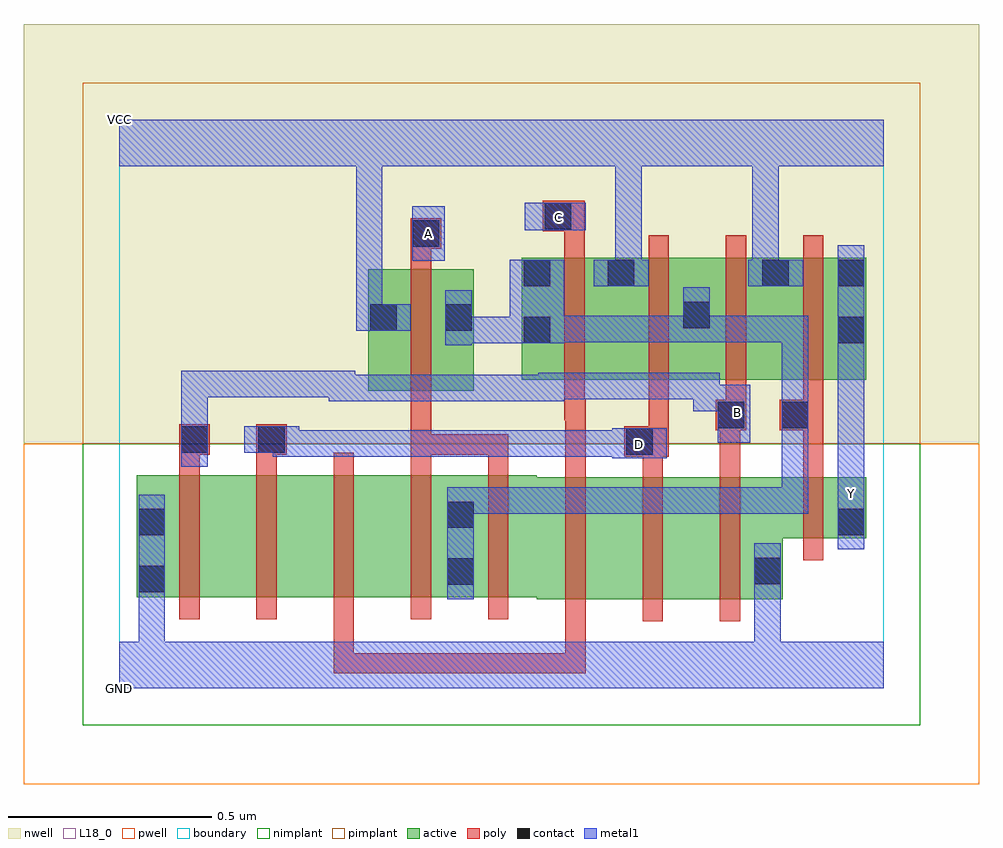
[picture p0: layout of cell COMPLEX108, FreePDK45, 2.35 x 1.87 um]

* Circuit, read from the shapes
.subckt COMPLEX108 A B C D GND VCC Y
M1 n1 B GND VSUBS nfet w=0.3u l=0.05u
M2 n2 D n1 VSUBS nfet w=0.3u l=0.05u
M3 n3 C n2 VSUBS nfet w=0.3u l=0.05u
M4 n4 A n3 VSUBS nfet w=0.3u l=0.05u
M5 n5 A n4 VSUBS nfet w=0.3u l=0.05u
M6 n6 C n5 VSUBS nfet w=0.3u l=0.05u
M7 n7 D n6 VSUBS nfet w=0.3u l=0.05u
M8 GND B n7 VSUBS nfet w=0.3u l=0.05u
M9 Y n4 GND VSUBS nfet w=0.15u l=0.05u
M10 n4 A VCC n8 pfet w=0.3u l=0.05u
M11 VCC C n4 n8 pfet w=0.3u l=0.05u
M12 n4 D VCC n8 pfet w=0.3u l=0.05u
M13 VCC B n4 n8 pfet w=0.3u l=0.05u
M14 Y n4 VCC n8 pfet w=0.3u l=0.05u
.ends

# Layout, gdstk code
import gdstk
lib = gdstk.Library(unit=1e-6, precision=1e-09)
def R(c, l, rs):  # rectangles x0, y0, x1, y1
    for r in rs: c.add(gdstk.rectangle(r[:2], r[2:], *l))
def A(c, l, x, y, w, h, nx, ny, dx, dy):  # array of equal rectangles
    R(c, l, [(x+i*dx, y+j*dy, x+i*dx+w, y+j*dy+h) for i in range(nx) for j in range(ny)])
active = (1, 0)
pwell = (2, 0)
nwell = (3, 0)
nimplant = (4, 0)
pimplant = (5, 0)
poly = (9, 0)
contact = (10, 0)
metal1 = (11, 0)
L18_0 = (18, 0)
boundary = (235, 0)

complex108 = lib.new_cell('COMPLEX108')
R(complex108, active, [(1.027,0.22,1.217,0.52), (1.217,0.22,1.407,0.52), (1.407,0.22,1.632,0.52), (1.557,0.22,1.632,0.37), (0.042,0.225,0.267,0.525), (0.042,0.225,0.117,0.525), (0.267,0.225,0.457,0.525), (0.457,0.225,0.647,0.525), (0.647,0.225,0.877,0.525), (0.802,0.225,1.027,0.525), (0.802,0.225,0.877,0.525), (1.557,0.37,1.837,0.52), (1.762,0.37,1.837,0.52), (0.612,0.732,0.687,1.032), (0.612,0.732,0.872,1.032), (0.797,0.732,0.872,0.967), (0.99,0.76,1.065,1.06), (0.99,0.76,1.272,1.06), (1.197,0.76,1.457,1.06), (1.382,0.76,1.652,1.06), (1.382,0.76,1.457,0.957), (1.577,0.76,1.837,1.06), (1.762,0.76,1.837,1.06), (1.577,0.772,1.652,1.06), (1.197,0.832,1.272,1.06)])
R(complex108, pwell, [(-0.235,-0.235,2.115,0.602)])
R(complex108, nwell, [(-0.235,0.602,2.115,1.635)])
R(complex108, nimplant, [(-0.09,-0.09,1.97,0.602)])
R(complex108, pimplant, [(-0.09,0.602,1.97,1.49)])
A(complex108, poly, 1.097, 0.165, 0.05, 0.41, 3, 1, 0.19, 0)
A(complex108, poly, 0.147, 0.17, 0.05, 0.41, 5, 1, 0.19, 0)
A(complex108, poly, 1.302, 0.705, 0.05, 0.41, 3, 1, 0.19, 0)
R(complex108, poly, [(0.527,0.037,0.577,0.087), (0.527,0.037,0.577,0.087), (0.527,0.037,0.577,0.087), (0.527,0.037,0.71,0.087), (0.527,0.037,0.577,0.22), (0.66,0.037,0.71,0.087), (0.66,0.037,0.71,0.087), (0.66,0.037,0.71,0.087), (0.66,0.037,0.96,0.087), (0.91,0.037,1.147,0.087), (0.91,0.037,0.96,0.087), (0.91,0.037,0.96,0.087), (0.91,0.037,0.96,0.087), (1.097,0.037,1.147,0.215), (1.097,0.037,1.147,0.087), (1.682,0.315,1.732,0.575), (1.097,0.525,1.147,0.71), (1.287,0.525,1.337,0.62), (1.477,0.525,1.527,0.685), (1.682,0.525,1.732,0.685), (0.147,0.53,0.197,0.625), (0.337,0.53,0.387,0.625), (0.717,0.53,0.767,0.625), (0.907,0.53,0.957,0.625), (1.242,0.57,1.352,0.645), (0.147,0.575,0.222,0.65), (0.337,0.575,0.412,0.65), (0.717,0.575,0.767,0.625), (0.717,0.575,0.767,0.625), (0.717,0.575,0.767,0.625), (0.717,0.575,0.957,0.625), (0.717,0.575,0.767,0.727), (0.907,0.575,0.957,0.625), (1.302,0.595,1.352,0.755), (1.467,0.635,1.542,0.71), (1.625,0.635,1.732,0.71), (1.095,0.66,1.145,0.755), (1.095,0.66,1.147,0.71), (1.492,0.66,1.542,0.755), (1.682,0.66,1.732,0.755), (0.717,0.677,0.767,1.087), (1.095,0.705,1.145,1.115), (0.717,1.037,0.767,1.132), (1.095,1.065,1.145,1.175), (0.717,1.082,0.792,1.157), (1.042,1.125,1.145,1.2)])
R(complex108, contact, [(0.047,0.237,0.112,0.302), (0.807,0.255,0.872,0.32), (1.562,0.257,1.627,0.322), (0.047,0.377,0.112,0.442), (1.767,0.377,1.832,0.442), (0.807,0.395,0.872,0.46), (1.247,0.575,1.312,0.64), (0.152,0.58,0.217,0.645), (0.342,0.58,0.407,0.645), (1.472,0.64,1.537,0.705), (1.63,0.64,1.695,0.705), (0.995,0.85,1.06,0.915), (1.767,0.85,1.832,0.915), (0.617,0.88,0.682,0.945), (0.802,0.88,0.867,0.945), (1.387,0.887,1.452,0.952), (0.995,0.99,1.06,1.055), (1.202,0.99,1.267,1.055), (1.582,0.99,1.647,1.055), (1.767,0.99,1.832,1.055), (0.722,1.087,0.787,1.152), (1.047,1.13,1.112,1.195)])
R(complex108, metal1, [(0,0,1.88,0.115), (0.047,0.05,0.112,0.267), (1.562,0.05,1.627,0.287), (0.047,0.202,0.112,0.477), (0.047,0.202,0.112,0.267), (0.047,0.202,0.112,0.267), (0.807,0.22,0.872,0.495), (1.562,0.222,1.627,0.287), (1.562,0.222,1.627,0.287), (1.562,0.222,1.627,0.357), (1.767,0.342,1.832,0.477), (1.767,0.412,1.832,0.477), (1.767,0.412,1.832,0.547), (0.807,0.43,0.872,0.495), (0.807,0.43,0.872,0.495), (0.807,0.43,1.095,0.495), (1.03,0.43,1.095,0.495), (1.03,0.43,1.095,0.495), (1.03,0.43,1.095,0.495), (1.03,0.43,1.315,0.495), (1.25,0.43,1.315,0.495), (1.25,0.43,1.315,0.495), (1.25,0.43,1.315,0.495), (1.25,0.43,1.475,0.495), (1.41,0.43,1.475,0.495), (1.41,0.43,1.485,0.495), (1.42,0.43,1.485,0.495), (1.42,0.43,1.695,0.495), (1.63,0.43,1.695,0.495), (1.63,0.43,1.695,0.74), (1.767,0.482,1.832,0.88), (0.152,0.545,0.217,0.68), (1.212,0.567,1.347,0.64), (0.377,0.57,0.592,0.635), (0.377,0.57,0.442,0.645), (0.527,0.57,0.592,0.635), (0.527,0.57,0.592,0.635), (0.527,0.57,0.592,0.635), (0.527,0.57,0.73,0.635), (0.665,0.57,0.73,0.635), (0.665,0.57,0.867,0.635), (0.802,0.57,0.867,0.635), (0.802,0.57,0.867,0.635), (0.802,0.57,0.867,0.635), (0.802,0.57,1.025,0.635), (0.96,0.57,1.025,0.635), (0.96,0.57,1.025,0.635), (0.96,0.57,1.025,0.635), (0.96,0.57,1.277,0.635), (1.212,0.57,1.277,0.635), (1.212,0.57,1.277,0.635), (0.307,0.58,0.442,0.645), (0.377,0.58,0.442,0.645), (1.472,0.605,1.552,0.747), (1.63,0.605,1.695,0.74), (0.152,0.615,0.217,0.68), (0.152,0.615,0.217,0.68), (0.152,0.615,0.217,0.782), (1.63,0.675,1.695,0.74), (1.63,0.675,1.695,0.74), (1.63,0.675,1.695,0.74), (1.63,0.675,1.695,0.74), (1.63,0.675,1.695,0.917), (1.412,0.682,1.477,0.747), (1.412,0.682,1.537,0.747), (1.412,0.682,1.477,0.777), (0.515,0.707,0.58,0.772), (0.515,0.707,0.58,0.772), (0.515,0.707,0.73,0.772), (0.515,0.707,0.58,0.782), (0.665,0.707,0.73,0.772), (0.665,0.707,0.887,0.772), (0.822,0.707,0.887,0.772), (0.822,0.707,0.887,0.772), (0.822,0.707,0.887,0.772), (0.822,0.707,1.095,0.772), (1.03,0.707,1.095,0.777), (1.03,0.712,1.095,0.777), (1.03,0.712,1.095,0.777), (1.03,0.712,1.285,0.777), (1.22,0.712,1.285,0.777), (1.22,0.712,1.285,0.777), (1.22,0.712,1.285,0.777), (1.22,0.712,1.477,0.777), (1.412,0.712,1.477,0.777), (0.152,0.717,0.217,0.782), (0.152,0.717,0.355,0.782), (0.29,0.717,0.355,0.782), (0.29,0.717,0.355,0.782), (0.29,0.717,0.355,0.782), (0.29,0.717,0.58,0.782), (1.767,0.815,1.832,1.09), (0.802,0.845,0.867,0.98), (0.802,0.85,0.867,0.915), (0.802,0.85,0.867,0.915), (0.802,0.85,1.025,0.915), (0.96,0.85,1.095,1.055), (1.03,0.852,1.095,0.917), (1.03,0.852,1.095,0.917), (1.03,0.852,1.315,0.917), (1.25,0.852,1.315,0.917), (1.25,0.852,1.315,0.917), (1.25,0.852,1.315,0.917), (1.25,0.852,1.452,0.917), (1.387,0.852,1.452,0.987), (1.387,0.852,1.512,0.917), (1.447,0.852,1.512,0.917), (1.447,0.852,1.695,0.917), (1.63,0.852,1.695,0.917), (0.582,0.88,0.717,0.945), (0.582,0.88,0.647,1.35), (1.167,0.99,1.302,1.055), (1.22,0.99,1.285,1.35), (1.547,0.99,1.682,1.055), (1.557,0.99,1.622,1.055), (1.557,0.99,1.622,1.055), (1.557,0.99,1.622,1.055), (1.557,0.99,1.622,1.055), (1.557,0.99,1.622,1.35), (0.72,1.052,0.8,1.187), (0.997,1.127,1.147,1.195), (0,1.285,1.88,1.4), (0.582,1.285,0.647,1.35), (0.582,1.285,0.647,1.35), (0.582,1.285,0.647,1.35), (0.582,1.285,0.647,1.35), (1.22,1.285,1.285,1.35), (1.22,1.285,1.285,1.35), (1.22,1.285,1.285,1.35), (1.22,1.285,1.285,1.35)])
R(complex108, L18_0, [(0,0,1.88,0.115), (0.047,0.05,0.112,0.267), (1.562,0.05,1.627,0.287), (0.047,0.202,0.112,0.267), (0.047,0.202,0.112,0.267), (0.047,0.202,0.112,0.477), (1.562,0.222,1.627,0.287), (1.562,0.222,1.627,0.287), (1.562,0.222,1.627,0.357), (1.767,0.342,1.832,0.477), (1.767,0.412,1.832,0.477), (1.767,0.412,1.832,0.547), (1.767,0.447,1.832,0.512), (1.767,0.482,1.832,0.88), (0.152,0.545,0.217,0.68), (1.212,0.567,1.347,0.64), (1.247,0.567,1.312,0.632), (0.377,0.57,0.442,0.645), (0.377,0.57,0.592,0.635), (0.527,0.57,0.592,0.635), (0.527,0.57,0.592,0.635), (0.527,0.57,0.592,0.635), (0.527,0.57,0.73,0.635), (0.665,0.57,0.73,0.635), (0.665,0.57,0.867,0.635), (0.802,0.57,0.867,0.635), (0.802,0.57,0.867,0.635), (0.802,0.57,0.867,0.635), (0.802,0.57,1.025,0.635), (0.96,0.57,1.025,0.635), (0.96,0.57,1.025,0.635), (0.96,0.57,1.025,0.635), (0.96,0.57,1.277,0.635), (1.212,0.57,1.277,0.635), (1.212,0.57,1.277,0.635), (0.307,0.58,0.442,0.645), (0.377,0.58,0.442,0.645), (1.472,0.605,1.552,0.747), (0.152,0.615,0.217,0.68), (0.152,0.615,0.217,0.68), (0.152,0.615,0.217,0.782), (1.487,0.647,1.552,0.712), (1.412,0.682,1.477,0.747), (1.412,0.682,1.477,0.777), (1.412,0.682,1.537,0.747), (0.515,0.707,0.58,0.772), (0.515,0.707,0.58,0.772), (0.515,0.707,0.58,0.782), (0.515,0.707,0.73,0.772), (0.665,0.707,0.73,0.772), (0.665,0.707,0.887,0.772), (0.822,0.707,0.887,0.772), (0.822,0.707,0.887,0.772), (0.822,0.707,0.887,0.772), (0.822,0.707,1.095,0.772), (1.03,0.707,1.095,0.777), (1.03,0.712,1.095,0.777), (1.03,0.712,1.095,0.777), (1.03,0.712,1.285,0.777), (1.22,0.712,1.285,0.777), (1.22,0.712,1.285,0.777), (1.22,0.712,1.285,0.777), (1.22,0.712,1.477,0.777), (1.412,0.712,1.477,0.777), (0.152,0.717,0.217,0.782), (0.152,0.717,0.355,0.782), (0.29,0.717,0.355,0.782), (0.29,0.717,0.355,0.782), (0.29,0.717,0.355,0.782), (0.29,0.717,0.58,0.782), (1.767,0.815,1.832,1.09), (0.582,0.88,0.717,0.945), (0.582,0.88,0.647,1.35), (1.167,0.99,1.302,1.055), (1.22,0.99,1.285,1.35), (1.547,0.99,1.682,1.055), (1.557,0.99,1.622,1.055), (1.557,0.99,1.622,1.055), (1.557,0.99,1.622,1.055), (1.557,0.99,1.622,1.055), (1.557,0.99,1.622,1.35), (0.72,1.052,0.8,1.187), (0.727,1.087,0.792,1.152), (0.997,1.127,1.147,1.195), (1.047,1.127,1.112,1.192), (0,1.285,1.88,1.4), (0.582,1.285,0.647,1.35), (0.582,1.285,0.647,1.35), (0.582,1.285,0.647,1.35), (0.582,1.285,0.647,1.35), (1.22,1.285,1.285,1.35), (1.22,1.285,1.285,1.35), (1.22,1.285,1.285,1.35), (1.22,1.285,1.285,1.35)])
R(complex108, boundary, [(0,0,1.88,1.4)])
complex108.add(gdstk.Label('A', (0.76,1.12), layer=11, texttype=0))
complex108.add(gdstk.Label('B', (1.52,0.68), layer=11, texttype=0))
complex108.add(gdstk.Label('C', (1.08,1.16), layer=11, texttype=0))
complex108.add(gdstk.Label('D', (1.28,0.6), layer=11, texttype=0))
complex108.add(gdstk.Label('Y', (1.8,0.48), layer=11, texttype=0))
complex108.add(gdstk.Label('VCC', (0,1.4), layer=11, texttype=0))
complex108.add(gdstk.Label('GND', (0,0), layer=11, texttype=0))

lib.write_gds('COMPLEX108.gds')
